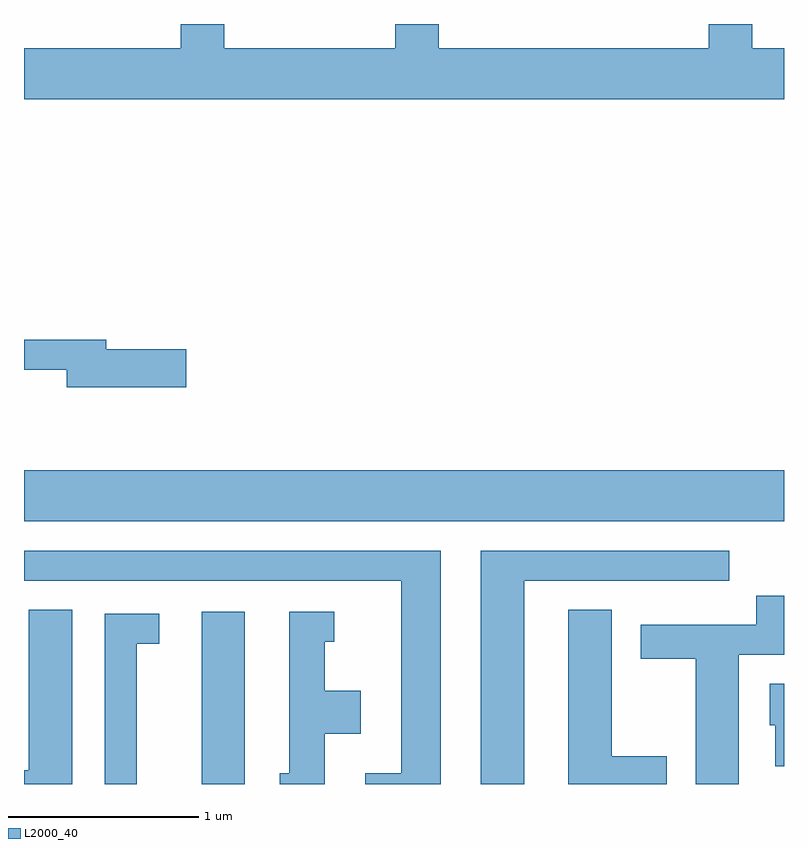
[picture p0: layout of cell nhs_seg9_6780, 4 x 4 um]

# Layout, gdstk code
import gdstk
lib = gdstk.Library(unit=1e-6, precision=1e-09)
def R(c, l, rs):  # rectangles x0, y0, x1, y1
    for r in rs: c.add(gdstk.rectangle(r[:2], r[2:], *l))
def P(c, l, *ps):  # polygons
    for p in ps: c.add(gdstk.Polygon(p, *l))
L2000_40 = (2000, 40)

nhs_seg9_6780 = lib.new_cell('nhs_seg9_6780')
R(nhs_seg9_6780, L2000_40, [(386.546,1990.432,386.774,1991.339), (385.611,1991.816,389.611,1992.084)])
P(nhs_seg9_6780, L2000_40, [(389.611,1994.304),(389.444,1994.304),(389.444,1994.432),(389.216,1994.432),(389.216,1994.304),(387.794,1994.304),(387.794,1994.432),(387.566,1994.432),(387.566,1994.304),(386.664,1994.304),(386.664,1994.432),(386.436,1994.432),(386.436,1994.304),(385.611,1994.304),(385.611,1994.036),(389.611,1994.036)],
  [(386.464,1992.719),(386.044,1992.719),(386.044,1992.769),(385.611,1992.769),(385.611,1992.611),(385.836,1992.611),(385.836,1992.521),(386.464,1992.521)],
  [(388.244,1991.501),(389.323,1991.501),(389.323,1991.659),(388.016,1991.659),(388.016,1990.432),(388.244,1990.432)],
  [(387.804,1991.659),(385.611,1991.659),(385.611,1991.501),(387.596,1991.501),(387.596,1990.489),(387.408,1990.489),(387.408,1990.432),(387.804,1990.432)],
  [(389.374,1991.111),(389.611,1991.111),(389.611,1991.423),(389.466,1991.423),(389.466,1991.269),(388.856,1991.269),(388.856,1991.091),(389.146,1991.091),(389.146,1990.432),(389.374,1990.432)],
  [(385.864,1991.349),(385.636,1991.349),(385.636,1990.504),(385.611,1990.504),(385.611,1990.432),(385.864,1990.432)],
  [(388.994,1990.579),(388.704,1990.579),(388.704,1991.349),(388.476,1991.349),(388.476,1990.432),(388.994,1990.432)],
  [(387.194,1990.696),(387.384,1990.696),(387.384,1990.924),(387.194,1990.924),(387.194,1991.181),(387.243,1991.181),(387.243,1991.339),(387.006,1991.339),(387.006,1990.489),(386.958,1990.489),(386.958,1990.432),(387.194,1990.432)],
  [(386.204,1991.171),(386.323,1991.171),(386.323,1991.329),(386.036,1991.329),(386.036,1990.432),(386.204,1990.432)],
  [(389.611,1990.959),(389.536,1990.959),(389.536,1990.741),(389.566,1990.741),(389.566,1990.526),(389.611,1990.526)])

lib.write_gds('nhs_seg9_6780.gds')
